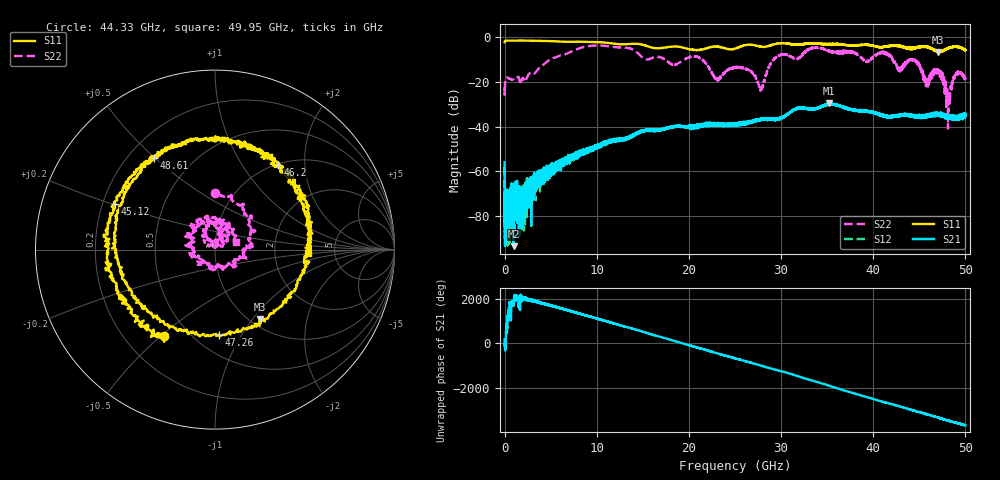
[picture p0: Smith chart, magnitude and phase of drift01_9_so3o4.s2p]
!Created with skrf (http://scikit-rf.org).
# Hz S RI R 50.0
!freq ReS11 ImS11 ReS21 ImS21 ReS12 ImS12 ReS22 ImS22
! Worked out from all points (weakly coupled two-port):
!   10001 points, 300 kHz to 50 GHz, reference 50 ohm
!   highest |S21| = -29.57 dB at 35.23 GHz (marker M1); lowest = -93.4 dB at 975.3 MHz (marker M2)
!   lowest |S11| = -6.7 dB at 47.05 GHz (marker M3), VSWR 2.71, Z = 54.9 - j54.3 ohm
!   |S11| at or under -10 dB: nowhere
!   |S22| runs from -40.8 to -3.6 dB; largest |S21 - S12| = 0.004
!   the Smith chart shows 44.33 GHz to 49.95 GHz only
!   S11 on the Smith chart (normalised r, x): 44.33 GHz: 0.37, -0.51; 45.12 GHz: 0.25, +0.20; 46.2 GHz: 1.02, +1.46; 47.26 GHz: 0.65, -0.80; 48.61 GHz: 0.30, +0.50; 49.95 GHz: 3.14, -0.18
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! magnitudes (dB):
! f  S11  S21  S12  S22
! 300 kHz  -2.1  -55.9  -58.0  -22.3
! 255.3 MHz  -1.4  -75.8  -74.4  -18.0
! 975.3 MHz  -1.5  -93.4  -78.5  -19.0
! 8.335 GHz  -1.9  -51.3  -51.4  -4.6
! 16.67 GHz  -4.8  -41.3  -41.3  -8.7
! 20.97 GHz  -5.7  -39.0  -40.4  -8.8
! 23.07 GHz  -4.1  -39.1  -39.6  -18.7
! 25 GHz  -5.0  -38.8  -39.0  -13.6
! 27.83 GHz  -4.2  -36.6  -36.9  -22.4
! 29.47 GHz  -2.9  -36.4  -36.5  -8.8
! 33.34 GHz  -2.6  -32.1  -32.2  -4.8
! 35.23 GHz  -3.0  -29.6  -29.7  -5.9
! 41.67 GHz  -3.9  -35.2  -35.5  -7.7
! 44.33 GHz  -5.1  -35.2  -34.9  -10.0
! 45.12 GHz  -4.2  -35.5  -35.6  -14.2
! 46.2 GHz  -4.6  -35.0  -34.8  -18.4
! 47.05 GHz  -6.7  -34.2  -34.4  -16.1
! 47.26 GHz  -6.5  -34.4  -34.6  -17.0
! 48.12 GHz  -4.9  -35.4  -35.8  -36.8
! 48.61 GHz  -4.3  -36.3  -35.8  -20.3
! 49.95 GHz  -5.7  -34.9  -34.6  -18.2
! 50 GHz  -5.6  -34.8  -34.8  -18.3
